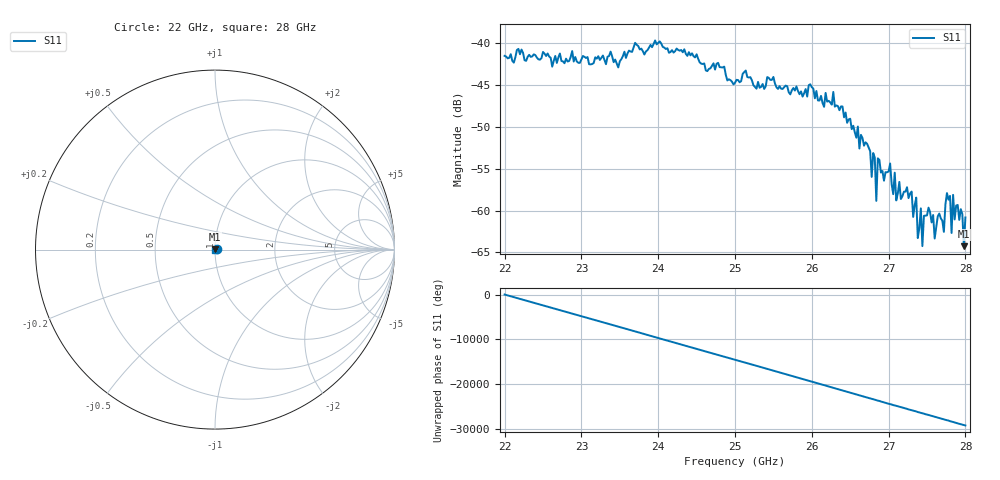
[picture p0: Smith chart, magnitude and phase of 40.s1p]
#  HZ  S  RI  R  50.00
! Rohde & Schwarz ZVA40 4Ports - Version 3.90 - 1145.1110k42 SN: 100403
! Date: 2023-10-04 07:33:09
! Measurement: S12
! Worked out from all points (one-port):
!   301 points, 22 GHz to 28 GHz, reference 50 ohm
!   lowest |S11| = -64.3 dB at 27.98 GHz (marker M1), VSWR 1.00, Z = 50 + j0.061 ohm
!   |S11| at or under -10 dB: start of sweep to end of sweep
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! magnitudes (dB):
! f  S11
! 22 GHz  -41.5
! 22.76 GHz  -42.2
! 23.5 GHz  -42.1
! 24.26 GHz  -40.8
! 25 GHz  -44.7
! 25.76 GHz  -45.3
! 26.5 GHz  -49.0
! 26.76 GHz  -52.9
! 26.78 GHz  -56.0
! 26.82 GHz  -53.7
! 26.84 GHz  -58.8
! 26.86 GHz  -53.7
! 27.26 GHz  -58.5
! 27.36 GHz  -58.5
! 27.38 GHz  -63.3
! 27.42 GHz  -59.7
! 27.44 GHz  -64.3
! 27.52 GHz  -59.7
! 27.6 GHz  -63.3
! 27.72 GHz  -62.6
! 27.76 GHz  -57.9
! 27.8 GHz  -58.2
! 27.82 GHz  -62.7
! 27.84 GHz  -58.1
! 27.86 GHz  -61.1
! 27.96 GHz  -60.4
! 27.98 GHz  -64.3
! 28 GHz  -60.8
